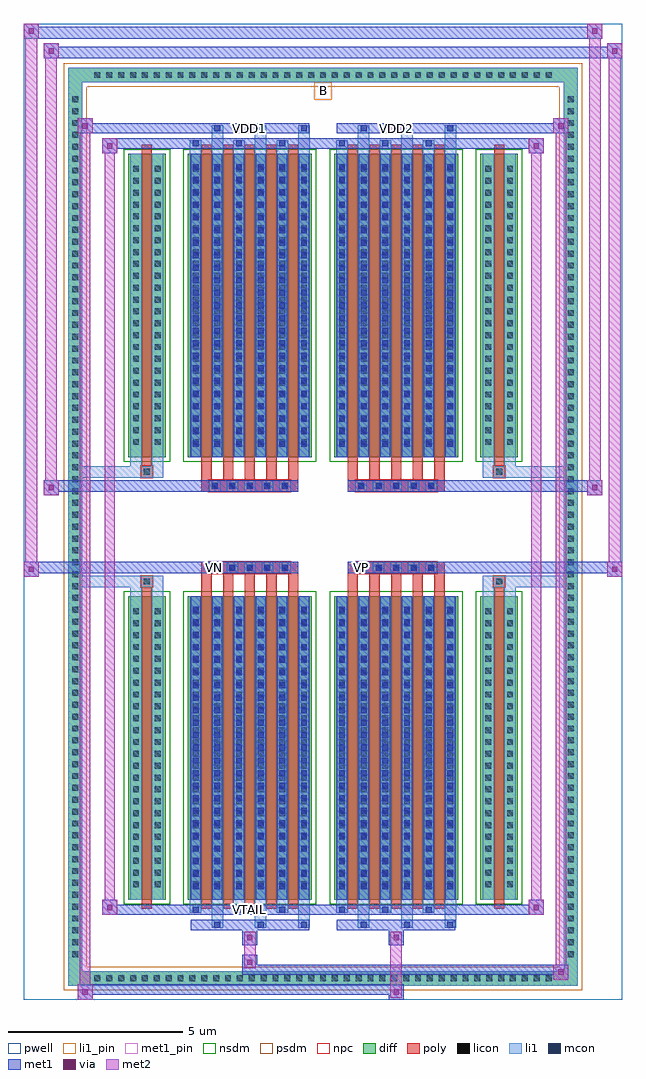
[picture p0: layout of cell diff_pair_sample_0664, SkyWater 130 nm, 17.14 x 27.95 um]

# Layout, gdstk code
import gdstk
lib = gdstk.Library(unit=1e-6, precision=5e-09)
def R(c, l, rs):  # rectangles x0, y0, x1, y1
    for r in rs: c.add(gdstk.rectangle(r[:2], r[2:], *l))
def A(c, l, x, y, w, h, nx, ny, dx, dy):  # array of equal rectangles
    R(c, l, [(x+i*dx, y+j*dy, x+i*dx+w, y+j*dy+h) for i in range(nx) for j in range(ny)])
def P(c, l, *ps):  # polygons
    for p in ps: c.add(gdstk.Polygon(p, *l))
pwell = (64, 44)
diff = (65, 20)
poly = (66, 20)
licon = (66, 44)
li1_pin = (67, 16)
li1 = (67, 20)
mcon = (67, 44)
met1_pin = (68, 16)
met1 = (68, 20)
via = (68, 44)
met2 = (69, 20)
nsdm = (93, 44)
psdm = (94, 20)
npc = (95, 20)

diff_pair_sample_0664 = lib.new_cell('diff_pair_sample_0664')
R(diff_pair_sample_0664, pwell, [(-8.57,-13.54,8.57,14.41), (-5.89,-11.73,-0.01,-0.805), (0.01,-11.73,5.89,-0.805), (-5.89,0.805,-0.01,11.73), (0.01,0.805,5.89,11.73)])
A(diff_pair_sample_0664, diff, -6.665, -13.14, 0.41, 0.41, 39, 2, 0.34, 25.87)
A(diff_pair_sample_0664, diff, -7.3, -12.445, 0.41, 0.41, 1, 73, 0, 0.34)
A(diff_pair_sample_0664, diff, 6.89, -12.445, 0.41, 0.41, 1, 73, 0, 0.34)
R(diff_pair_sample_0664, diff, [(-6.665,-13.14,6.665,-12.73), (-7.3,-12.445,-6.89,12.445), (6.89,-12.445,7.3,12.445), (-5.58,-10.685,-4.51,-1.985), (-3.87,-10.685,-0.32,-1.985), (0.32,-10.685,3.87,-1.985), (4.51,-10.685,5.58,-1.985), (-5.58,1.985,-4.51,10.685), (-3.87,1.985,-0.32,10.685), (0.32,1.985,3.87,10.685), (4.51,1.985,5.58,10.685), (-6.665,12.73,6.665,13.14)])
P(diff_pair_sample_0664, diff, [(7.3,13.14),(-7.3,13.14),(-7.3,-12.73),(-6.89,-12.73),(-6.89,12.73),(6.89,12.73),(6.89,-12.73),(-6.89,-12.73),(-7.3,-12.73),(-7.3,-13.14),(7.3,-13.14)])
A(diff_pair_sample_0664, poly, -3.48, -10.935, 0.29, 9.2, 5, 2, 0.62, 12.67)
A(diff_pair_sample_0664, poly, 0.71, -10.935, 0.29, 9.2, 5, 2, 0.62, 12.67)
A(diff_pair_sample_0664, poly, -3.48, -1.735, 0.29, 0.4, 5, 2, 0.62, 3.07)
A(diff_pair_sample_0664, poly, 0.71, -1.735, 0.29, 0.4, 5, 2, 0.62, 3.07)
A(diff_pair_sample_0664, poly, -3.26, -1.335, 0.33, 0.33, 5, 2, 0.5, 2.34)
A(diff_pair_sample_0664, poly, 0.93, -1.335, 0.33, 0.33, 5, 2, 0.5, 2.34)
R(diff_pair_sample_0664, poly, [(-5.19,-10.935,-4.9,-1.735), (4.9,-10.935,5.19,-1.735), (-5.21,-1.735,-4.88,-1.405), (-5.21,-1.735,-4.88,-1.405), (4.88,-1.735,5.21,-1.405), (4.88,-1.735,5.21,-1.405), (-3.48,-1.335,-0.71,-1.005), (0.71,-1.335,3.48,-1.005), (-3.48,1.005,-0.71,1.335), (0.71,1.005,3.48,1.335), (-5.21,1.405,-4.88,1.735), (-5.21,1.405,-4.88,1.735), (4.88,1.405,5.21,1.735), (4.88,1.405,5.21,1.735), (-5.19,1.735,-4.9,10.935), (4.9,1.735,5.19,10.935)])
A(diff_pair_sample_0664, licon, -6.545, -13.02, 0.17, 0.17, 39, 2, 0.34, 25.87)
A(diff_pair_sample_0664, licon, -7.18, -12.325, 0.17, 0.17, 1, 73, 0, 0.34)
A(diff_pair_sample_0664, licon, 7.01, -12.325, 0.17, 0.17, 1, 73, 0, 0.34)
A(diff_pair_sample_0664, licon, -5.44, -10.33, 0.17, 0.17, 1, 24, 0, 0.34)
A(diff_pair_sample_0664, licon, -4.82, -10.33, 0.17, 0.17, 1, 24, 0, 0.34)
A(diff_pair_sample_0664, licon, -3.73, -10.33, 0.17, 0.17, 6, 24, 0.62, 0.34)
A(diff_pair_sample_0664, licon, 0.46, -10.33, 0.17, 0.17, 6, 24, 0.62, 0.34)
A(diff_pair_sample_0664, licon, 4.65, -10.33, 0.17, 0.17, 1, 24, 0, 0.34)
A(diff_pair_sample_0664, licon, 5.27, -10.33, 0.17, 0.17, 1, 24, 0, 0.34)
A(diff_pair_sample_0664, licon, -3.18, -1.255, 0.17, 0.17, 5, 2, 0.5, 2.34)
A(diff_pair_sample_0664, licon, 1.01, -1.255, 0.17, 0.17, 5, 2, 0.5, 2.34)
A(diff_pair_sample_0664, licon, -5.44, 2.34, 0.17, 0.17, 1, 24, 0, 0.34)
A(diff_pair_sample_0664, licon, -4.82, 2.34, 0.17, 0.17, 1, 24, 0, 0.34)
A(diff_pair_sample_0664, licon, -3.73, 2.34, 0.17, 0.17, 6, 24, 0.62, 0.34)
A(diff_pair_sample_0664, licon, 0.46, 2.34, 0.17, 0.17, 6, 24, 0.62, 0.34)
A(diff_pair_sample_0664, licon, 4.65, 2.34, 0.17, 0.17, 1, 24, 0, 0.34)
A(diff_pair_sample_0664, licon, 5.27, 2.34, 0.17, 0.17, 1, 24, 0, 0.34)
R(diff_pair_sample_0664, licon, [(-5.13,-1.655,-4.96,-1.485), (4.96,-1.655,5.13,-1.485), (-5.13,1.485,-4.96,1.655), (4.96,1.485,5.13,1.655)])
R(diff_pair_sample_0664, li1_pin, [(-0.25,12.23,0.25,12.73)])
A(diff_pair_sample_0664, li1, -6.625, -13.1, 0.33, 0.33, 39, 2, 0.34, 25.87)
A(diff_pair_sample_0664, li1, -7.26, -12.405, 0.33, 0.33, 1, 73, 0, 0.34)
A(diff_pair_sample_0664, li1, 6.93, -12.405, 0.33, 0.33, 1, 73, 0, 0.34)
A(diff_pair_sample_0664, li1, -3.19, -11.49, 0.33, 0.805, 3, 2, 1.24, 22.175)
A(diff_pair_sample_0664, li1, -3.11, -11.49, 0.17, 0.17, 3, 2, 1.24, 22.81)
A(diff_pair_sample_0664, li1, 1, -11.49, 0.33, 0.805, 3, 2, 1.24, 22.175)
A(diff_pair_sample_0664, li1, 1.08, -11.49, 0.17, 0.17, 3, 2, 1.24, 22.81)
A(diff_pair_sample_0664, li1, -3.81, -11.06, 0.33, 0.375, 3, 2, 1.24, 21.745)
A(diff_pair_sample_0664, li1, -3.73, -11.06, 0.17, 0.17, 3, 2, 1.24, 21.95)
A(diff_pair_sample_0664, li1, 0.38, -11.06, 0.33, 0.375, 3, 2, 1.24, 21.745)
A(diff_pair_sample_0664, li1, 0.46, -11.06, 0.17, 0.17, 3, 2, 1.24, 21.95)
A(diff_pair_sample_0664, li1, -3.81, -10.685, 0.33, 8.7, 6, 2, 0.62, 12.67)
A(diff_pair_sample_0664, li1, 0.38, -10.685, 0.33, 8.7, 6, 2, 0.62, 12.67)
A(diff_pair_sample_0664, li1, -5.52, -10.41, 0.33, 0.33, 1, 24, 0, 0.34)
A(diff_pair_sample_0664, li1, -4.9, -10.41, 0.33, 0.33, 1, 24, 0, 0.34)
A(diff_pair_sample_0664, li1, -3.81, -10.41, 0.33, 0.33, 6, 24, 0.62, 0.34)
A(diff_pair_sample_0664, li1, 0.38, -10.41, 0.33, 0.33, 6, 24, 0.62, 0.34)
A(diff_pair_sample_0664, li1, 4.57, -10.41, 0.33, 0.33, 1, 24, 0, 0.34)
A(diff_pair_sample_0664, li1, 5.19, -10.41, 0.33, 0.33, 1, 24, 0, 0.34)
A(diff_pair_sample_0664, li1, -3.73, -10.38, 0.17, 0.17, 6, 23, 0.62, 0.36)
A(diff_pair_sample_0664, li1, -3.73, -10.38, 0.17, 8.09, 6, 2, 0.62, 12.67)
A(diff_pair_sample_0664, li1, 0.46, -10.38, 0.17, 0.17, 6, 23, 0.62, 0.36)
A(diff_pair_sample_0664, li1, 0.46, -10.38, 0.17, 8.09, 6, 2, 0.62, 12.67)
A(diff_pair_sample_0664, li1, -3.26, -1.335, 0.33, 0.33, 5, 2, 0.5, 2.34)
A(diff_pair_sample_0664, li1, 0.93, -1.335, 0.33, 0.33, 5, 2, 0.5, 2.34)
A(diff_pair_sample_0664, li1, -5.52, 2.26, 0.33, 0.33, 1, 24, 0, 0.34)
A(diff_pair_sample_0664, li1, -4.9, 2.26, 0.33, 0.33, 1, 24, 0, 0.34)
A(diff_pair_sample_0664, li1, -3.81, 2.26, 0.33, 0.33, 6, 24, 0.62, 0.34)
A(diff_pair_sample_0664, li1, 0.38, 2.26, 0.33, 0.33, 6, 24, 0.62, 0.34)
A(diff_pair_sample_0664, li1, 4.57, 2.26, 0.33, 0.33, 1, 24, 0, 0.34)
A(diff_pair_sample_0664, li1, 5.19, 2.26, 0.33, 0.33, 1, 24, 0, 0.34)
A(diff_pair_sample_0664, li1, -3.73, 2.29, 0.17, 0.17, 6, 23, 0.62, 0.36)
A(diff_pair_sample_0664, li1, 0.46, 2.29, 0.17, 0.17, 6, 23, 0.62, 0.36)
R(diff_pair_sample_0664, li1, [(-7.3,-13.14,-6.89,-12.73), (-7.3,-13.14,-6.89,-12.73), (-6.89,-13.14,6.89,-12.73), (6.89,-13.14,7.3,-12.73), (6.89,-13.14,7.3,-12.73), (-7.3,-12.73,-6.89,12.73), (6.89,-12.73,7.3,12.73), (-5.52,-10.685,-5.19,-1.985), (-4.9,-10.685,-4.57,-1.985), (4.57,-10.685,4.9,-1.985), (5.19,-10.685,5.52,-1.985), (-5.52,-1.985,-5.19,-1.405), (-4.9,-1.985,-4.57,-1.405), (4.57,-1.985,4.9,-1.405), (5.19,-1.985,5.52,-1.405), (-7.3,-1.735,-5.21,-1.405), (-5.52,-1.735,-5.21,-1.405), (-5.21,-1.735,-4.88,-1.405), (-4.88,-1.735,-4.57,-1.405), (4.57,-1.735,4.88,-1.405), (4.88,-1.735,5.21,-1.405), (4.88,-1.735,7.3,-1.405), (5.21,-1.735,5.52,-1.405), (-7.3,1.405,-5.21,1.735), (-5.52,1.405,-5.21,1.735), (-5.52,1.405,-5.19,1.985), (-5.21,1.405,-4.88,1.735), (-4.9,1.405,-4.57,1.985), (-4.88,1.405,-4.57,1.735), (4.57,1.405,4.88,1.735), (4.57,1.405,4.9,1.985), (4.88,1.405,5.21,1.735), (4.88,1.405,7.3,1.735), (5.19,1.405,5.52,1.985), (5.21,1.405,5.52,1.735), (-5.52,1.985,-5.19,10.685), (-4.9,1.985,-4.57,10.685), (4.57,1.985,4.9,10.685), (5.19,1.985,5.52,10.685), (-7.3,12.73,-6.89,13.14), (-7.3,12.73,-6.89,13.14), (-6.89,12.73,6.89,13.14), (6.89,12.73,7.3,13.14), (6.89,12.73,7.3,13.14)])
A(diff_pair_sample_0664, mcon, -3.11, -11.49, 0.17, 0.17, 3, 2, 1.24, 22.81)
A(diff_pair_sample_0664, mcon, 1.08, -11.49, 0.17, 0.17, 3, 2, 1.24, 22.81)
A(diff_pair_sample_0664, mcon, -3.73, -11.06, 0.17, 0.17, 3, 2, 1.24, 21.95)
A(diff_pair_sample_0664, mcon, 0.46, -11.06, 0.17, 0.17, 3, 2, 1.24, 21.95)
A(diff_pair_sample_0664, mcon, -3.73, -10.38, 0.17, 0.17, 6, 23, 0.62, 0.36)
A(diff_pair_sample_0664, mcon, 0.46, -10.38, 0.17, 0.17, 6, 23, 0.62, 0.36)
A(diff_pair_sample_0664, mcon, -3.18, -1.255, 0.17, 0.17, 5, 2, 0.5, 2.34)
A(diff_pair_sample_0664, mcon, 1.01, -1.255, 0.17, 0.17, 5, 2, 0.5, 2.34)
A(diff_pair_sample_0664, mcon, -3.73, 2.29, 0.17, 0.17, 6, 23, 0.62, 0.36)
A(diff_pair_sample_0664, mcon, 0.46, 2.29, 0.17, 0.17, 6, 23, 0.62, 0.36)
R(diff_pair_sample_0664, met1_pin, [(-2.23,-11.1,-1.96,-10.83), (-3.23,-1.295,-2.96,-1.025), (0.96,-1.295,1.23,-1.025), (-2.23,11.28,-1.96,11.55), (1.96,11.28,2.23,11.55)])
A(diff_pair_sample_0664, met1, -3.17, -11.55, 0.29, 0.29, 3, 2, 1.24, 22.81)
A(diff_pair_sample_0664, met1, 1.02, -11.55, 0.29, 0.29, 3, 2, 1.24, 22.81)
A(diff_pair_sample_0664, met1, -3.79, -11.12, 0.29, 0.29, 3, 2, 1.24, 21.95)
A(diff_pair_sample_0664, met1, 0.4, -11.12, 0.29, 0.29, 3, 2, 1.24, 21.95)
A(diff_pair_sample_0664, met1, -3.79, -10.685, 0.29, 8.7, 6, 2, 0.62, 12.67)
A(diff_pair_sample_0664, met1, 0.4, -10.685, 0.29, 8.7, 6, 2, 0.62, 12.67)
A(diff_pair_sample_0664, met1, -3.79, -10.44, 0.29, 0.29, 6, 23, 0.62, 0.36)
A(diff_pair_sample_0664, met1, 0.4, -10.44, 0.29, 0.29, 6, 23, 0.62, 0.36)
A(diff_pair_sample_0664, met1, -3.24, -1.315, 0.29, 0.29, 5, 2, 0.5, 2.34)
A(diff_pair_sample_0664, met1, 0.95, -1.315, 0.29, 0.29, 5, 2, 0.5, 2.34)
A(diff_pair_sample_0664, met1, -3.79, 2.23, 0.29, 0.29, 6, 23, 0.62, 0.36)
A(diff_pair_sample_0664, met1, 0.4, 2.23, 0.29, 0.29, 6, 23, 0.62, 0.36)
R(diff_pair_sample_0664, met1, [(-7.03,-13.54,-6.6,-13.11), (1.88,-13.54,2.31,-13.11), (-7.03,-13.4,2.31,-13.11), (6.6,-12.97,7.03,-12.54), (-2.31,-12.83,7.03,-12.54), (-2.31,-12.69,-1.88,-12.26), (-2.31,-11.98,-1.88,-11.55), (1.88,-11.98,2.31,-11.55), (-3.79,-11.55,-0.4,-11.26), (0.4,-11.55,3.79,-11.26), (-6.32,-11.12,-5.89,-10.69), (-6.32,-11.12,-3.79,-10.83), (-3.79,-11.12,-0.4,-10.83), (-0.4,-11.12,0.4,-10.83), (0.4,-11.12,3.79,-10.83), (3.79,-11.12,6.32,-10.83), (5.89,-11.12,6.32,-10.69), (-8.57,-1.435,-8.14,-1.005), (8.14,-1.435,8.57,-1.005), (-8.57,-1.335,-0.71,-1.005), (-3.48,-1.335,-0.71,-1.005), (0.71,-1.335,3.48,-1.005), (0.71,-1.335,8.57,-1.005), (-8,0.905,-7.57,1.335), (7.57,0.905,8,1.335), (-8,1.005,-3.48,1.335), (-3.48,1.005,-0.71,1.335), (0.71,1.005,3.48,1.335), (3.48,1.005,8,1.335), (-6.32,10.69,-5.89,11.12), (5.89,10.69,6.32,11.12), (-6.32,10.83,-3.79,11.12), (-3.79,10.83,-0.4,11.12), (-0.4,10.83,0.4,11.12), (0.4,10.83,3.79,11.12), (3.79,10.83,6.32,11.12), (-7.03,11.26,-6.6,11.69), (-7.03,11.26,-3.79,11.55), (-3.79,11.26,-0.4,11.55), (0.4,11.26,3.79,11.55), (3.79,11.26,7.03,11.55), (6.6,11.26,7.03,11.69), (-8,13.41,-7.57,13.84), (-8,13.41,-5.89,13.74), (-5.89,13.41,5.89,13.74), (5.89,13.41,8.57,13.74), (8.14,13.41,8.57,13.84), (-8.57,13.98,-8.14,14.41), (-8.57,13.98,-5.89,14.31), (-5.89,13.98,5.89,14.31), (5.89,13.98,8,14.31), (7.57,13.98,8,14.41)])
R(diff_pair_sample_0664, via, [(-6.89,-13.4,-6.74,-13.25), (2.02,-13.4,2.17,-13.25), (6.74,-12.83,6.89,-12.68), (-2.17,-12.55,-2.02,-12.4), (-2.17,-11.84,-2.02,-11.69), (2.02,-11.84,2.17,-11.69), (-6.18,-10.98,-6.03,-10.83), (6.03,-10.98,6.18,-10.83), (-8.43,-1.295,-8.28,-1.145), (8.28,-1.295,8.43,-1.145), (-7.86,1.045,-7.71,1.195), (7.71,1.045,7.86,1.195), (-6.18,10.83,-6.03,10.98), (6.03,10.83,6.18,10.98), (-6.89,11.4,-6.74,11.55), (6.74,11.4,6.89,11.55), (-7.86,13.55,-7.71,13.7), (8.28,13.55,8.43,13.7), (-8.43,14.12,-8.28,14.27), (7.71,14.12,7.86,14.27)])
R(diff_pair_sample_0664, met2, [(-7.03,-13.54,-6.6,-13.11), (-6.96,-13.54,-6.67,11.69), (-6.67,-13.54,-6.6,-13.11), (-6.98,-13.49,-6.65,-13.16), (1.93,-13.49,2.26,-13.16), (1.93,-13.16,2.26,-11.93), (6.6,-12.97,7.03,-12.54), (6.67,-12.97,6.96,11.69), (6.96,-12.97,7.03,-12.54), (6.65,-12.92,6.98,-12.59), (-2.26,-12.64,-1.93,-12.31), (-2.26,-12.31,-1.93,-11.93), (-2.26,-11.93,-1.93,-11.6), (1.93,-11.93,2.26,-11.6), (-6.32,-11.12,-5.89,-10.69), (-6.25,-11.12,-5.96,11.12), (-5.96,-11.12,-5.89,-10.69), (5.89,-11.12,6.32,-10.69), (5.96,-11.12,6.25,11.12), (6.25,-11.12,6.32,-10.69), (-6.27,-11.07,-5.94,-10.74), (5.94,-11.07,6.27,-10.74), (-8.57,-1.435,-8.14,-1.005), (-8.52,-1.435,-8.19,14.41), (-8.19,-1.435,-8.14,-1.005), (8.14,-1.435,8.57,-1.005), (8.19,-1.435,8.52,13.84), (8.52,-1.435,8.57,-1.005), (-8.52,-1.385,-8.19,-1.055), (8.19,-1.385,8.52,-1.055), (-8,0.905,-7.57,1.335), (-7.95,0.905,-7.62,13.84), (-7.62,0.905,-7.57,1.335), (7.57,0.905,8,1.335), (7.62,0.905,7.95,14.41), (7.95,0.905,8,1.335), (-7.95,0.955,-7.62,1.285), (7.62,0.955,7.95,1.285), (-6.32,10.69,-5.89,11.12), (-5.96,10.69,-5.89,11.12), (5.89,10.69,6.32,11.12), (6.25,10.69,6.32,11.12), (-6.27,10.74,-5.94,11.07), (5.94,10.74,6.27,11.07), (-7.03,11.26,-6.6,11.69), (-6.67,11.26,-6.6,11.69), (6.6,11.26,7.03,11.69), (6.96,11.26,7.03,11.69), (-6.98,11.31,-6.65,11.64), (6.65,11.31,6.98,11.64), (-8,13.41,-7.57,13.84), (-7.62,13.41,-7.57,13.84), (8.14,13.41,8.57,13.84), (8.52,13.41,8.57,13.84), (-7.95,13.46,-7.62,13.79), (8.19,13.46,8.52,13.79), (-8.57,13.98,-8.14,14.41), (-8.19,13.98,-8.14,14.41), (7.57,13.98,8,14.41), (7.95,13.98,8,14.41), (-8.52,14.03,-8.19,14.36), (7.62,14.03,7.95,14.36)])
R(diff_pair_sample_0664, nsdm, [(-5.71,-10.815,-4.38,-1.855), (-4,-10.815,-0.19,-1.855), (0.19,-10.815,4,-1.855), (4.38,-10.815,5.71,-1.855), (-5.71,1.855,-4.38,10.815), (-4,1.855,-0.19,10.815), (0.19,1.855,4,10.815), (4.38,1.855,5.71,10.815)])
P(diff_pair_sample_0664, psdm, [(7.43,13.27),(-7.43,13.27),(-7.43,-12.6),(-6.76,-12.6),(-6.76,12.6),(6.76,12.6),(6.76,-12.6),(-6.76,-12.6),(-7.43,-12.6),(-7.43,-13.27),(7.43,-13.27)])
A(diff_pair_sample_0664, npc, -3.28, -1.355, 0.37, 0.37, 5, 2, 0.5, 2.34)
A(diff_pair_sample_0664, npc, 0.91, -1.355, 0.37, 0.37, 5, 2, 0.5, 2.34)
R(diff_pair_sample_0664, npc, [(-5.23,-1.755,-4.86,-1.385), (4.86,-1.755,5.23,-1.385), (-3.28,-1.355,-2.41,-0.985), (-3.28,-1.355,-2.41,-0.985), (-2.78,-1.355,-1.91,-0.985), (-2.78,-1.355,-1.91,-0.985), (-2.28,-1.355,-1.41,-0.985), (-2.28,-1.355,-1.41,-0.985), (-1.78,-1.355,-0.91,-0.985), (-1.78,-1.355,-0.91,-0.985), (0.91,-1.355,1.78,-0.985), (0.91,-1.355,1.78,-0.985), (1.41,-1.355,2.28,-0.985), (1.41,-1.355,2.28,-0.985), (1.91,-1.355,2.78,-0.985), (1.91,-1.355,2.78,-0.985), (2.41,-1.355,3.28,-0.985), (2.41,-1.355,3.28,-0.985), (-3.28,0.985,-2.41,1.355), (-3.28,0.985,-2.41,1.355), (-2.78,0.985,-1.91,1.355), (-2.78,0.985,-1.91,1.355), (-2.28,0.985,-1.41,1.355), (-2.28,0.985,-1.41,1.355), (-1.78,0.985,-0.91,1.355), (-1.78,0.985,-0.91,1.355), (0.91,0.985,1.78,1.355), (0.91,0.985,1.78,1.355), (1.41,0.985,2.28,1.355), (1.41,0.985,2.28,1.355), (1.91,0.985,2.78,1.355), (1.91,0.985,2.78,1.355), (2.41,0.985,3.28,1.355), (2.41,0.985,3.28,1.355), (-5.23,1.385,-4.86,1.755), (4.86,1.385,5.23,1.755)])
diff_pair_sample_0664.add(gdstk.Label('VTAIL', (-2.095,-10.965), layer=68, texttype=5))
diff_pair_sample_0664.add(gdstk.Label('VN', (-3.095,-1.16), layer=68, texttype=5))
diff_pair_sample_0664.add(gdstk.Label('VP', (1.095,-1.16), layer=68, texttype=5))
diff_pair_sample_0664.add(gdstk.Label('B', (0,12.48), layer=67, texttype=5))
diff_pair_sample_0664.add(gdstk.Label('VDD2', (2.095,11.415), layer=68, texttype=5))
diff_pair_sample_0664.add(gdstk.Label('VDD1', (-2.095,11.415), layer=68, texttype=5))

lib.write_gds('diff_pair_sample_0664.gds')
